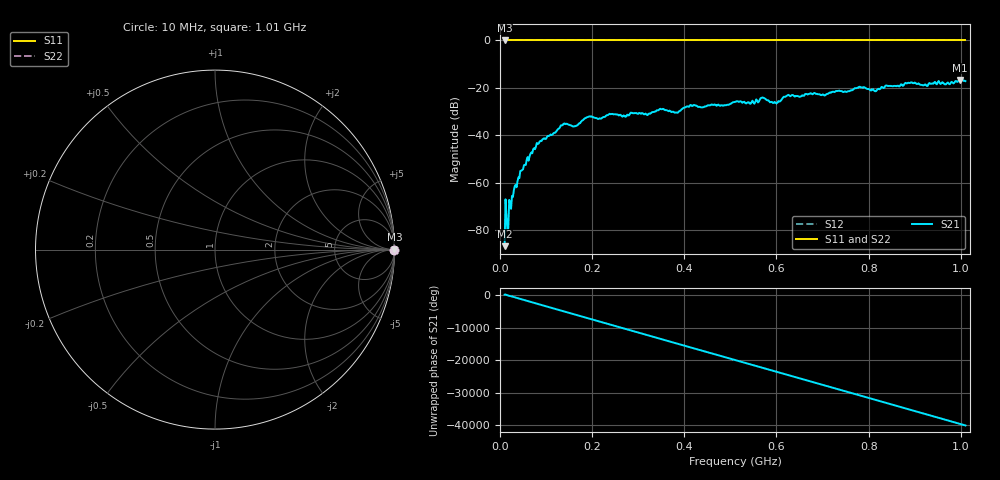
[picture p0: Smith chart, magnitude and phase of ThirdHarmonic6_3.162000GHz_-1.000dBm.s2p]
! 8/17/2025 9:29:55 AM
! C:\ANRITSUVNA\TEMP\TEMP.S2P
! CHANNEL.1
! TR.MEASUREMENT
! RAW.DATA
! RF.CORRECTION.OFF
! AVERAGING.OFF
! IF.BANDWIDTH: 5KHZ
! SWEEPTYPE:  FREQ.SWEEP(Linear)
! Reference Plane Port Info
! PORT:  PORT1  PORT2
! DISTANCE:  0  m  0  m
! TIME:  0  s  0  s
! PHASE.OFFSET:  0  deg.  0  deg.
! LOSS:  0  dB  0  dB
! REF.LOSS:  0  dB  0  dB
! REF.FREQ:  0  Hz  0  Hz
! Power Info
! POWER:  -20  dBm  -20  dBm
! EFF.POWER:  -20  dBm  -20  dBm
! SOURCE.ATTEN:  0  dB  0  dB
! TEST.ATTEN:  0  dB  0  dB
# GHZ S RI R 50.0
! FREQ.GHZ  S11RE  S11IM  S21RE  S21IM  S12RE  S12IM  S22RE  S22IM
!; PortSelection: Port_12
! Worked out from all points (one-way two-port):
!   501 points, 10 MHz to 1.01 GHz, reference 50 ohm
!   highest |S21| = -16.63 dB at 998 MHz (marker M1); lowest = -86.8 dB at 10 MHz (marker M2)
!   lowest |S11| = 0.0 dB at 10 MHz (marker M3)
!   |S11| at or under -10 dB: nowhere
!   |S22| runs from 0.0 to 0.0 dB; largest |S21 - S12| = 1.1
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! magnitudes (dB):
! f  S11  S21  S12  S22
! 10 MHz  0.0  -86.8  0.0  0.0
! 20 MHz  0.0  -67.3  0.0  0.0
! 24 MHz  0.0  -71.0  0.0  0.0
! 42 MHz  0.0  -58.1  0.0  0.0
! 76 MHz  0.0  -45.9  0.0  0.0
! 136 MHz  0.0  -35.8  0.0  0.0
! 162 MHz  0.0  -36.2  0.0  0.0
! 178 MHz  0.0  -33.8  0.0  0.0
! 194 MHz  0.0  -32.0  0.0  0.0
! 322 MHz  0.0  -31.0  0.0  0.0
! 344 MHz  0.0  -29.4  0.0  0.0
! 382 MHz  0.0  -30.4  0.0  0.0
! 416 MHz  0.0  -27.6  0.0  0.0
! 510 MHz  0.0  -25.9  0.0  0.0
! 570 MHz  0.0  -24.1  0.0  0.0
! 598 MHz  0.0  -26.3  0.0  0.0
! 624 MHz  0.0  -23.1  0.0  0.0
! 678 MHz  0.0  -22.7  0.0  0.0
! 814 MHz  0.0  -21.4  0.0  0.0
! 844 MHz  0.0  -19.2  0.0  0.0
! 998 MHz  0.0  -16.6  0.0  0.0
! 1.01 GHz  0.0  -17.1  0.0  0.0
